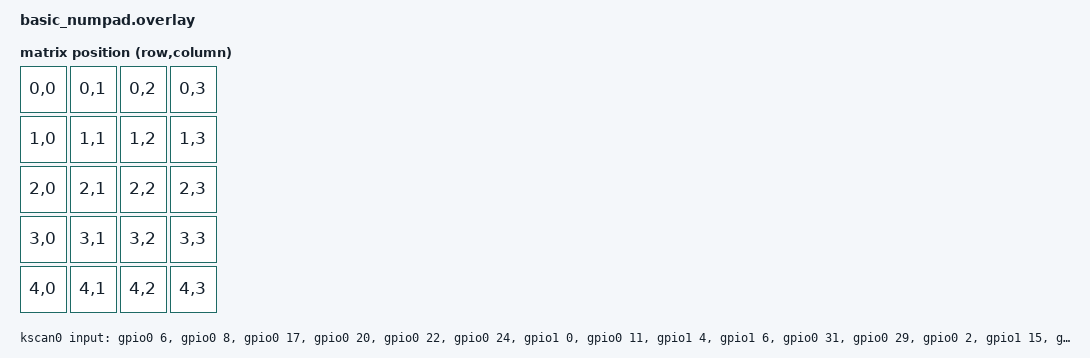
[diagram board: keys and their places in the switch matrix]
/ {
    kscan0: kscan {
        compatible = "zmk,kscan-gpio-direct";
        wakeup-source;

        input-gpios =
            <&gpio0 6  (GPIO_ACTIVE_LOW | GPIO_PULL_UP)>,
            <&gpio0 8  (GPIO_ACTIVE_LOW | GPIO_PULL_UP)>,
            <&gpio0 17 (GPIO_ACTIVE_LOW | GPIO_PULL_UP)>,
            <&gpio0 20 (GPIO_ACTIVE_LOW | GPIO_PULL_UP)>,

            <&gpio0 22 (GPIO_ACTIVE_LOW | GPIO_PULL_UP)>,
            <&gpio0 24 (GPIO_ACTIVE_LOW | GPIO_PULL_UP)>,
            <&gpio1 0  (GPIO_ACTIVE_LOW | GPIO_PULL_UP)>,
            <&gpio0 11 (GPIO_ACTIVE_LOW | GPIO_PULL_UP)>,

            <&gpio1 4  (GPIO_ACTIVE_LOW | GPIO_PULL_UP)>,
            <&gpio1 6  (GPIO_ACTIVE_LOW | GPIO_PULL_UP)>,
            <&gpio0 31 (GPIO_ACTIVE_LOW | GPIO_PULL_UP)>,
            <&gpio0 29 (GPIO_ACTIVE_LOW | GPIO_PULL_UP)>,

            <&gpio0 2  (GPIO_ACTIVE_LOW | GPIO_PULL_UP)>,
            <&gpio1 15 (GPIO_ACTIVE_LOW | GPIO_PULL_UP)>,
            <&gpio1 13 (GPIO_ACTIVE_LOW | GPIO_PULL_UP)>,
            <&gpio1 11 (GPIO_ACTIVE_LOW | GPIO_PULL_UP)>,

            <&gpio0 10 (GPIO_ACTIVE_LOW | GPIO_PULL_UP)>,
            <&gpio0 9  (GPIO_ACTIVE_LOW | GPIO_PULL_UP)>,
            <&gpio1 2  (GPIO_ACTIVE_LOW | GPIO_PULL_UP)>,
            <&gpio1 7  (GPIO_ACTIVE_LOW | GPIO_PULL_UP)>;
    };

    default_transform: matrix_transform0 {
        compatible = "zmk,matrix-transform";

        rows = <5>;
        columns = <4>;

        map = <
            RC(0,0) RC(0,1) RC(0,2) RC(0,3)
            RC(1,0) RC(1,1) RC(1,2) RC(1,3)
            RC(2,0) RC(2,1) RC(2,2) RC(2,3)
            RC(3,0) RC(3,1) RC(3,2) RC(3,3)
            RC(4,0) RC(4,1) RC(4,2) RC(4,3)
        >;
    };

    chosen {
        zmk,kscan = &kscan0;
        zmk,physical-layout = &physical_layout0;
    };

    physical_layout0: physical_layout_0 {
        compatible = "zmk,physical-layout";

        display-name = "4x5";

        transform = <&default_transform>;
        kscan = <&kscan0>;
    };
};
